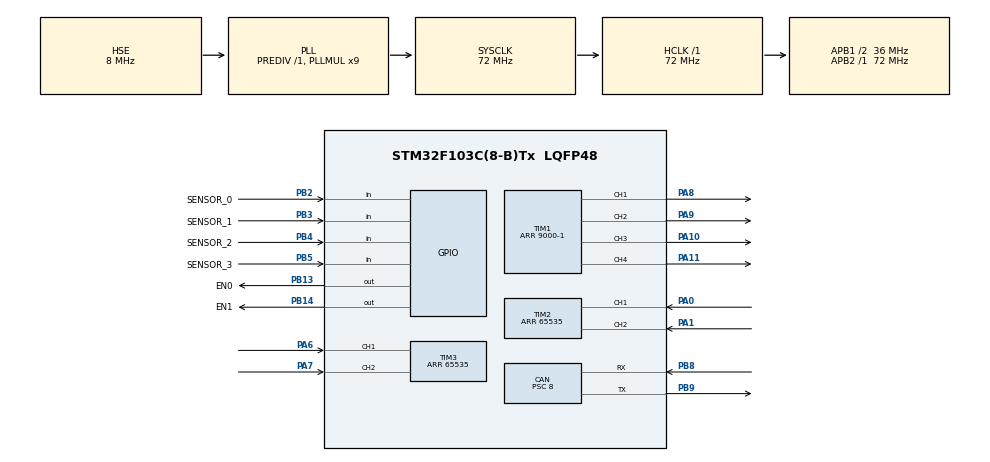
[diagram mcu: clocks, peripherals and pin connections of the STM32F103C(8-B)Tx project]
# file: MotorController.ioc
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CAN.BS1=CAN_BS1_4TQ
CAN.BS2=CAN_BS2_4TQ
CAN.CalculateBaudRate=500000
CAN.CalculateTimeBit=1999.99
CAN.CalculateTimeQuantum=222.22222222222223
CAN.Prescaler=8
IWDG.Prescaler=IWDG_PRESCALER_64
IWDG.Reload=256
Mcu.Family=STM32F1
Mcu.Name=STM32F103C(8-B)Tx
Mcu.Package=LQFP48
NVIC.CAN1_RX1_IRQn=true\:7\:0\:true\:false\:true\:true\:true
NVIC.PriorityGroup=NVIC_PRIORITYGROUP_4
NVIC.TIM2_IRQn=true\:1\:0\:true\:false\:true\:true\:true
NVIC.TIM3_IRQn=true\:1\:0\:true\:false\:true\:true\:true
NVIC.TIM4_IRQn=true\:3\:0\:true\:false\:true\:true\:true
PA0-WKUP.Signal=S_TIM2_CH1_ETR
PA1.Signal=S_TIM2_CH2
PA10.Signal=S_TIM1_CH3
PA11.Signal=S_TIM1_CH4
PA13.Mode=Serial_Wire
PA13.Signal=SYS_JTMS-SWDIO
PA14.Mode=Serial_Wire
PA14.Signal=SYS_JTCK-SWCLK
PA6.Signal=S_TIM3_CH1
PA7.Signal=S_TIM3_CH2
PA8.GPIO_Speed=GPIO_SPEED_FREQ_HIGH
PA8.Signal=S_TIM1_CH1
PA9.GPIO_Speed=GPIO_SPEED_FREQ_HIGH
PA9.Signal=S_TIM1_CH2
PB13.GPIO_Label=EN0
PB13.PinState=GPIO_PIN_RESET
PB13.Signal=GPIO_Output
PB14.GPIO_Label=EN1
PB14.PinState=GPIO_PIN_RESET
PB14.Signal=GPIO_Output
PB2.GPIO_Label=SENSOR_0
PB2.Signal=GPIO_Input
PB3.GPIO_Label=SENSOR_1
PB3.GPIO_PuPd=GPIO_NOPULL
PB3.Signal=GPIO_Input
PB4.GPIO_Label=SENSOR_2
PB4.GPIO_PuPd=GPIO_NOPULL
PB4.Signal=GPIO_Input
PB5.GPIO_Label=SENSOR_3
PB5.Signal=GPIO_Input
PB8.Mode=CAN_Activate
PB8.Signal=CAN_RX
PB9.Mode=CAN_Activate
PB9.Signal=CAN_TX
PD0-OSC_IN.Mode=HSE-External-Oscillator
PD0-OSC_IN.Signal=RCC_OSC_IN
PD1-OSC_OUT.Mode=HSE-External-Oscillator
PD1-OSC_OUT.Signal=RCC_OSC_OUT
ProjectManager.HeapSize=0x200
ProjectManager.StackSize=0x400
ProjectManager.TargetToolchain=MDK-ARM V5.27
RCC.AHBFreq_Value=72000000
RCC.APB1CLKDivider=RCC_HCLK_DIV2
RCC.APB1Freq_Value=36000000
RCC.APB1TimFreq_Value=72000000
RCC.APB2Freq_Value=72000000
RCC.APB2TimFreq_Value=72000000
RCC.HCLKFreq_Value=72000000
RCC.PLLMUL=RCC_PLL_MUL9
RCC.PLLSourceVirtual=RCC_PLLSOURCE_HSE
RCC.SYSCLKFreq_VALUE=72000000
RCC.SYSCLKSource=RCC_SYSCLKSOURCE_PLLCLK
RCC.USBFreq_Value=72000000
SH.S_TIM1_CH1.0=TIM1_CH1,PWM Generation1 CH1
SH.S_TIM1_CH2.0=TIM1_CH2,PWM Generation2 CH2
SH.S_TIM1_CH3.0=TIM1_CH3,PWM Generation3 CH3
SH.S_TIM1_CH4.0=TIM1_CH4,PWM Generation4 CH4
SH.S_TIM2_CH1_ETR.0=TIM2_CH1,Encoder_Interface
SH.S_TIM2_CH2.0=TIM2_CH2,Encoder_Interface
SH.S_TIM3_CH1.0=TIM3_CH1,Encoder_Interface
SH.S_TIM3_CH2.0=TIM3_CH2,Encoder_Interface
TIM1.AutoReloadPreload=TIM_AUTORELOAD_PRELOAD_ENABLE
TIM1.Channel-PWM\ Generation1\ CH1=TIM_CHANNEL_1
TIM1.Channel-PWM\ Generation2\ CH2=TIM_CHANNEL_2
TIM1.Channel-PWM\ Generation3\ CH3=TIM_CHANNEL_3
TIM1.Channel-PWM\ Generation4\ CH4=TIM_CHANNEL_4
TIM1.Period=9000-1
TIM2.CounterMode=TIM_COUNTERMODE_UP
TIM2.EncoderMode=TIM_ENCODERMODE_TI12
TIM2.IC1Filter=8
TIM2.IC1Polarity=TIM_ICPOLARITY_FALLING
TIM2.IC2Filter=8
TIM2.IC2Polarity=TIM_ICPOLARITY_FALLING
TIM2.Period=65535
TIM3.CounterMode=TIM_COUNTERMODE_UP
TIM3.EncoderMode=TIM_ENCODERMODE_TI12
TIM3.IC1Filter=8
TIM3.IC1Polarity=TIM_ICPOLARITY_FALLING
TIM3.IC2Filter=8
TIM3.IC2Polarity=TIM_ICPOLARITY_FALLING
TIM3.Period=65535
TIM4.Period=20000-1
TIM4.Prescaler=72-1
VP_IWDG_VS_IWDG.Mode=IWDG_Activate
VP_TIM4_VS_ClockSourceINT.Mode=Internal
board=MotorController

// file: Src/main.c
/* USER CODE BEGIN Header */
/**
 ******************************************************************************
 * @file           : main.c
 * @brief          : Main program body
 ******************************************************************************
 * @attention
 *
 * <h2><center>&copy; Copyright (c) 2021 STMicroelectronics.
 * All rights reserved.</center></h2>
 *
 * This software component is licensed by ST under BSD 3-Clause license,
 * the "License"; You may not use this file except in compliance with the
 * License. You may obtain a copy of the License at:
 *                        opensource.org/licenses/BSD-3-Clause
 *
 ******************************************************************************
 */
/* USER CODE END Header */
#include "main.h"

/* USER CODE BEGIN Includes */
#include "motor.h"
#include "can.h"
#include "door_control.h"
#include "detector.h"
/* USER CODE END Includes */

CAN_HandleTypeDef hcan;

IWDG_HandleTypeDef hiwdg;

TIM_HandleTypeDef htim1;
TIM_HandleTypeDef htim2;
TIM_HandleTypeDef htim3;
TIM_HandleTypeDef htim4;

/* USER CODE BEGIN PV */
/* Private variables ---------------------------------------------------------*/

/* USER CODE END PV */

void SystemClock_Config(void);
static void MX_GPIO_Init(void);
static void MX_TIM1_Init(void);
static void MX_IWDG_Init(void);
static void MX_TIM4_Init(void);
static void MX_TIM2_Init(void);
static void MX_TIM3_Init(void);
static void MX_CAN_Init(void);
/* USER CODE BEGIN PFP */
/* Private function prototypes -----------------------------------------------*/

/* USER CODE END PFP */

/* USER CODE BEGIN 0 */
extern float leftAngularSpeed, rightAngularSpeed;
extern uint8_t recvBuff[], sensorRecvBuff[];

/* USER CODE END 0 */

int main(void)
{

  /* MCU Configuration--------------------------------------------------------*/

  /* Reset of all peripherals, Initializes the Flash interface and the Systick. */
  HAL_Init();

  /* Configure the system clock */
  SystemClock_Config();

  /* Initialize all configured peripherals */
  MX_GPIO_Init();
  MX_TIM1_Init();
  MX_IWDG_Init();
  MX_TIM4_Init();
  MX_TIM2_Init();
  MX_TIM3_Init();
  MX_CAN_Init();
  /* USER CODE BEGIN 2 */
  __HAL_DBGMCU_FREEZE_IWDG();
  __HAL_DBGMCU_FREEZE_TIM1();
  __HAL_DBGMCU_FREEZE_TIM2();
  __HAL_DBGMCU_FREEZE_TIM3();
  __HAL_DBGMCU_FREEZE_TIM4();

  MotorInit();
  HAL_TIM_Base_Start_IT(&htim4);
  InitCan();
  InitDoorControl();
  InitDetector();
  /* USER CODE END 2 */

  /* Infinite loop */
  /* USER CODE BEGIN WHILE */
  // SetAngularSpeed(LEFT, -0.2);
  // SetAngularSpeed(RIGHT, -0.2);
  while (1)
  {
    CanFunction();
    DoorControlFunction();
    HAL_IWDG_Refresh(&hiwdg);
    /* USER CODE END WHILE */

  }
}

void SystemClock_Config(void)
{
  RCC_OscInitTypeDef RCC_OscInitStruct = {0};
  RCC_ClkInitTypeDef RCC_ClkInitStruct = {0};

  /** Initializes the RCC Oscillators according to the specified parameters
  * in the RCC_OscInitTypeDef structure.
  */
  RCC_OscInitStruct.OscillatorType = RCC_OSCILLATORTYPE_LSI|RCC_OSCILLATORTYPE_HSE;
  RCC_OscInitStruct.HSEState = RCC_HSE_ON;
  RCC_OscInitStruct.HSEPredivValue = RCC_HSE_PREDIV_DIV1;
  RCC_OscInitStruct.HSIState = RCC_HSI_ON;
  RCC_OscInitStruct.LSIState = RCC_LSI_ON;
  RCC_OscInitStruct.PLL.PLLState = RCC_PLL_ON;
  RCC_OscInitStruct.PLL.PLLSource = RCC_PLLSOURCE_HSE;
  RCC_OscInitStruct.PLL.PLLMUL = RCC_PLL_MUL9;
  if (HAL_RCC_OscConfig(&RCC_OscInitStruct) != HAL_OK)
  {
    Error_Handler();
  }
  /** Initializes the CPU, AHB and APB buses clocks
  */
  RCC_ClkInitStruct.ClockType = RCC_CLOCKTYPE_HCLK|RCC_CLOCKTYPE_SYSCLK
                              |RCC_CLOCKTYPE_PCLK1|RCC_CLOCKTYPE_PCLK2;
  RCC_ClkInitStruct.SYSCLKSource = RCC_SYSCLKSOURCE_PLLCLK;
  RCC_ClkInitStruct.AHBCLKDivider = RCC_SYSCLK_DIV1;
  RCC_ClkInitStruct.APB1CLKDivider = RCC_HCLK_DIV2;
  RCC_ClkInitStruct.APB2CLKDivider = RCC_HCLK_DIV1;

  if (HAL_RCC_ClockConfig(&RCC_ClkInitStruct, FLASH_LATENCY_2) != HAL_OK)
  {
    Error_Handler();
  }
}

static void MX_CAN_Init(void)
{

  hcan.Instance = CAN1;
  hcan.Init.Prescaler = 8;
  hcan.Init.Mode = CAN_MODE_NORMAL;
  hcan.Init.SyncJumpWidth = CAN_SJW_1TQ;
  hcan.Init.TimeSeg1 = CAN_BS1_4TQ;
  hcan.Init.TimeSeg2 = CAN_BS2_4TQ;
  hcan.Init.TimeTriggeredMode = DISABLE;
  hcan.Init.AutoBusOff = DISABLE;
  hcan.Init.AutoWakeUp = DISABLE;
  hcan.Init.AutoRetransmission = DISABLE;
  hcan.Init.ReceiveFifoLocked = DISABLE;
  hcan.Init.TransmitFifoPriority = DISABLE;
  if (HAL_CAN_Init(&hcan) != HAL_OK)
  {
    Error_Handler();
  }

}

static void MX_IWDG_Init(void)
{

  hiwdg.Instance = IWDG;
  hiwdg.Init.Prescaler = IWDG_PRESCALER_64;
  hiwdg.Init.Reload = 256;
  if (HAL_IWDG_Init(&hiwdg) != HAL_OK)
  {
    Error_Handler();
  }

}

static void MX_TIM1_Init(void)
{

  TIM_MasterConfigTypeDef sMasterConfig = {0};
  TIM_OC_InitTypeDef sConfigOC = {0};
  TIM_BreakDeadTimeConfigTypeDef sBreakDeadTimeConfig = {0};

  htim1.Instance = TIM1;
  htim1.Init.Prescaler = 0;
  htim1.Init.CounterMode = TIM_COUNTERMODE_UP;
  htim1.Init.Period = 9000-1;
  htim1.Init.ClockDivision = TIM_CLOCKDIVISION_DIV1;
  htim1.Init.RepetitionCounter = 0;
  htim1.Init.AutoReloadPreload = TIM_AUTORELOAD_PRELOAD_ENABLE;
  if (HAL_TIM_PWM_Init(&htim1) != HAL_OK)
  {
    Error_Handler();
  }
  sMasterConfig.MasterOutputTrigger = TIM_TRGO_RESET;
  sMasterConfig.MasterSlaveMode = TIM_MASTERSLAVEMODE_DISABLE;
  if (HAL_TIMEx_MasterConfigSynchronization(&htim1, &sMasterConfig) != HAL_OK)
  {
    Error_Handler();
  }
  sConfigOC.OCMode = TIM_OCMODE_PWM1;
  sConfigOC.Pulse = 0;
  sConfigOC.OCPolarity = TIM_OCPOLARITY_HIGH;
  sConfigOC.OCNPolarity = TIM_OCNPOLARITY_HIGH;
  sConfigOC.OCFastMode = TIM_OCFAST_DISABLE;
  sConfigOC.OCIdleState = TIM_OCIDLESTATE_RESET;
  sConfigOC.OCNIdleState = TIM_OCNIDLESTATE_RESET;
  if (HAL_TIM_PWM_ConfigChannel(&htim1, &sConfigOC, TIM_CHANNEL_1) != HAL_OK)
  {
    Error_Handler();
  }
  if (HAL_TIM_PWM_ConfigChannel(&htim1, &sConfigOC, TIM_CHANNEL_2) != HAL_OK)
  {
    Error_Handler();
  }
  if (HAL_TIM_PWM_ConfigChannel(&htim1, &sConfigOC, TIM_CHANNEL_3) != HAL_OK)
  {
    Error_Handler();
  }
  if (HAL_TIM_PWM_ConfigChannel(&htim1, &sConfigOC, TIM_CHANNEL_4) != HAL_OK)
  {
    Error_Handler();
  }
  sBreakDeadTimeConfig.OffStateRunMode = TIM_OSSR_DISABLE;
  sBreakDeadTimeConfig.OffStateIDLEMode = TIM_OSSI_DISABLE;
  sBreakDeadTimeConfig.LockLevel = TIM_LOCKLEVEL_OFF;
  sBreakDeadTimeConfig.DeadTime = 0;
  sBreakDeadTimeConfig.BreakState = TIM_BREAK_DISABLE;
  sBreakDeadTimeConfig.BreakPolarity = TIM_BREAKPOLARITY_HIGH;
  sBreakDeadTimeConfig.AutomaticOutput = TIM_AUTOMATICOUTPUT_DISABLE;
  if (HAL_TIMEx_ConfigBreakDeadTime(&htim1, &sBreakDeadTimeConfig) != HAL_OK)
  {
    Error_Handler();
  }
  HAL_TIM_MspPostInit(&htim1);

}

static void MX_TIM2_Init(void)
{

  TIM_Encoder_InitTypeDef sConfig = {0};
  TIM_MasterConfigTypeDef sMasterConfig = {0};

  htim2.Instance = TIM2;
  htim2.Init.Prescaler = 0;
  htim2.Init.CounterMode = TIM_COUNTERMODE_UP;
  htim2.Init.Period = 65535;
  htim2.Init.ClockDivision = TIM_CLOCKDIVISION_DIV1;
  htim2.Init.AutoReloadPreload = TIM_AUTORELOAD_PRELOAD_DISABLE;
  sConfig.EncoderMode = TIM_ENCODERMODE_TI12;
  sConfig.IC1Polarity = TIM_ICPOLARITY_FALLING;
  sConfig.IC1Selection = TIM_ICSELECTION_DIRECTTI;
  sConfig.IC1Prescaler = TIM_ICPSC_DIV1;
  sConfig.IC1Filter = 8;
  sConfig.IC2Polarity = TIM_ICPOLARITY_FALLING;
  sConfig.IC2Selection = TIM_ICSELECTION_DIRECTTI;
  sConfig.IC2Prescaler = TIM_ICPSC_DIV1;
  sConfig.IC2Filter = 8;
  if (HAL_TIM_Encoder_Init(&htim2, &sConfig) != HAL_OK)
  {
    Error_Handler();
  }
  sMasterConfig.MasterOutputTrigger = TIM_TRGO_RESET;
  sMasterConfig.MasterSlaveMode = TIM_MASTERSLAVEMODE_DISABLE;
  if (HAL_TIMEx_MasterConfigSynchronization(&htim2, &sMasterConfig) != HAL_OK)
  {
    Error_Handler();
  }

}

static void MX_TIM3_Init(void)
{

  TIM_Encoder_InitTypeDef sConfig = {0};
  TIM_MasterConfigTypeDef sMasterConfig = {0};

  htim3.Instance = TIM3;
  htim3.Init.Prescaler = 0;
  htim3.Init.CounterMode = TIM_COUNTERMODE_UP;
  htim3.Init.Period = 65535;
  htim3.Init.ClockDivision = TIM_CLOCKDIVISION_DIV1;
  htim3.Init.AutoReloadPreload = TIM_AUTORELOAD_PRELOAD_DISABLE;
  sConfig.EncoderMode = TIM_ENCODERMODE_TI12;
  sConfig.IC1Polarity = TIM_ICPOLARITY_FALLING;
  sConfig.IC1Selection = TIM_ICSELECTION_DIRECTTI;
  sConfig.IC1Prescaler = TIM_ICPSC_DIV1;
  sConfig.IC1Filter = 8;
  sConfig.IC2Polarity = TIM_ICPOLARITY_FALLING;
  sConfig.IC2Selection = TIM_ICSELECTION_DIRECTTI;
  sConfig.IC2Prescaler = TIM_ICPSC_DIV1;
  sConfig.IC2Filter = 8;
  if (HAL_TIM_Encoder_Init(&htim3, &sConfig) != HAL_OK)
  {
    Error_Handler();
  }
  sMasterConfig.MasterOutputTrigger = TIM_TRGO_RESET;
  sMasterConfig.MasterSlaveMode = TIM_MASTERSLAVEMODE_DISABLE;
  if (HAL_TIMEx_MasterConfigSynchronization(&htim3, &sMasterConfig) != HAL_OK)
  {
    Error_Handler();
  }

}

static void MX_TIM4_Init(void)
{

  TIM_ClockConfigTypeDef sClockSourceConfig = {0};
  TIM_MasterConfigTypeDef sMasterConfig = {0};

  htim4.Instance = TIM4;
  htim4.Init.Prescaler = 72-1;
  htim4.Init.CounterMode = TIM_COUNTERMODE_UP;
  htim4.Init.Period = 20000-1;
  htim4.Init.ClockDivision = TIM_CLOCKDIVISION_DIV1;
  htim4.Init.AutoReloadPreload = TIM_AUTORELOAD_PRELOAD_DISABLE;
  if (HAL_TIM_Base_Init(&htim4) != HAL_OK)
  {
    Error_Handler();
  }
  sClockSourceConfig.ClockSource = TIM_CLOCKSOURCE_INTERNAL;
  if (HAL_TIM_ConfigClockSource(&htim4, &sClockSourceConfig) != HAL_OK)
  {
    Error_Handler();
  }
  sMasterConfig.MasterOutputTrigger = TIM_TRGO_RESET;
  sMasterConfig.MasterSlaveMode = TIM_MASTERSLAVEMODE_DISABLE;
  if (HAL_TIMEx_MasterConfigSynchronization(&htim4, &sMasterConfig) != HAL_OK)
  {
    Error_Handler();
  }

}

static void MX_GPIO_Init(void)
{
  GPIO_InitTypeDef GPIO_InitStruct = {0};

  /* GPIO Ports Clock Enable */
  __HAL_RCC_GPIOD_CLK_ENABLE();
  __HAL_RCC_GPIOA_CLK_ENABLE();
  __HAL_RCC_GPIOB_CLK_ENABLE();

  /*Configure GPIO pin Output Level */
  HAL_GPIO_WritePin(GPIOB, EN0_Pin|EN1_Pin, GPIO_PIN_RESET);

  /*Configure GPIO pins : SENSOR_0_Pin SENSOR_1_Pin SENSOR_2_Pin SENSOR_3_Pin */
  GPIO_InitStruct.Pin = SENSOR_0_Pin|SENSOR_1_Pin|SENSOR_2_Pin|SENSOR_3_Pin;
  GPIO_InitStruct.Mode = GPIO_MODE_INPUT;
  GPIO_InitStruct.Pull = GPIO_NOPULL;
  HAL_GPIO_Init(GPIOB, &GPIO_InitStruct);

  /*Configure GPIO pins : EN0_Pin EN1_Pin */
  GPIO_InitStruct.Pin = EN0_Pin|EN1_Pin;
  GPIO_InitStruct.Mode = GPIO_MODE_OUTPUT_PP;
  GPIO_InitStruct.Pull = GPIO_NOPULL;
  GPIO_InitStruct.Speed = GPIO_SPEED_FREQ_LOW;
  HAL_GPIO_Init(GPIOB, &GPIO_InitStruct);

}

/* USER CODE BEGIN 4 */

#ifdef __GNUC__
/* With GCC/RAISONANCE, small printf (option LD Linker->Libraries->Small printf
   set to 'Yes') calls __io_putchar() */
#define PUTCHAR_PROTOTYPE int __io_putchar(int ch)
#else
#define PUTCHAR_PROTOTYPE int __io_putchar(int ch)
#endif /* __GNUC__ */
/**
 * @brief  Retargets the C library printf function to the USART.
 * @param  None
 * @retval None
 */
PUTCHAR_PROTOTYPE
{
  /* Place your implementation of fputc here */
  /* e.g. write a character to the USART2 and Loop until the end of transmission */
  // HAL_UART_Transmit(&huart3, (uint8_t *)&ch, 1, 0xFFFF);

  return ch;
}

/* USER CODE END 4 */

void Error_Handler(void)
{
  while (1)
  {
  }
}

/************************ (C) COPYRIGHT STMicroelectronics *****END OF FILE****/
